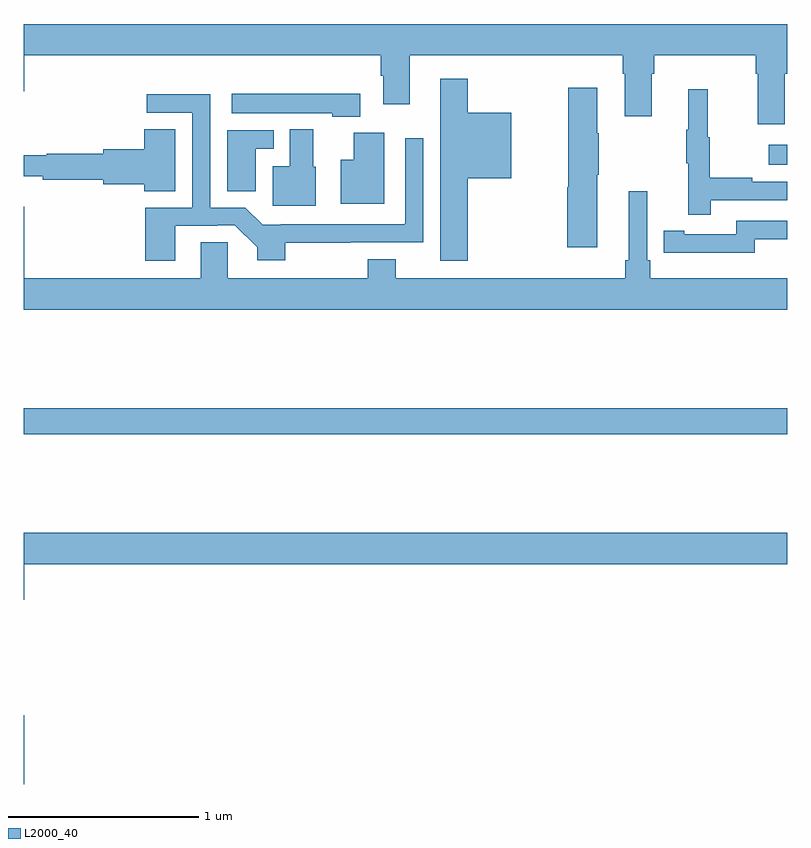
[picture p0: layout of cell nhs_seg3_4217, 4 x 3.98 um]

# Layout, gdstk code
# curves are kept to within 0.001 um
import gdstk
lib = gdstk.Library(unit=1e-6, precision=1e-09)
def R(c, l, rs):  # rectangles x0, y0, x1, y1
    for r in rs: c.add(gdstk.rectangle(r[:2], r[2:], *l))
def P(c, l, *ps):  # polygons
    for p in ps: c.add(gdstk.Polygon(p, *l))
L2000_40 = (2000, 40)

nhs_seg3_4217 = lib.new_cell('nhs_seg3_4217')
R(nhs_seg3_4217, L2000_40, [(333,730.4,333.004,730.759), (333,732.232,337,732.368), (336.903,733.643,337,733.747)])
P(nhs_seg3_4217, L2000_40, [(336.985,734.12),(336.998,734.12),(336.998,734.216),(337,734.216),(337,734.38),(333,734.38),(333,734.028),(333.004,734.028),(333.004,734.216),(334.871,734.216),(334.871,734.11),(334.883,734.11),(334.883,733.959),(335.023,733.959),(335.023,734.216),(336.137,734.216),(336.137,734.12),(336.149,734.12),(336.149,733.896),(336.289,733.896),(336.289,734.12),(336.302,734.12),(336.302,734.216),(336.833,734.216),(336.833,734.12),(336.845,734.12),(336.845,733.854),(336.985,733.854)],
  [(335.327,733.571),(335.554,733.571),(335.554,733.915),(335.327,733.915),(335.327,734.092),(335.183,734.092),(335.183,733.14),(335.327,733.14)],
  [(336.004,733.591),(336.012,733.591),(336.012,733.808),(336.004,733.808),(336.004,734.047),(335.851,734.047),(335.851,733.524),(335.846,733.524),(335.846,733.212),(336.004,733.212)],
  [(336.599,733.458),(337,733.458),(337,733.554),(336.815,733.554),(336.815,733.574),(336.592,733.574),(336.592,733.788),(336.584,733.788),(336.584,734.038),(336.482,734.038),(336.482,733.825),(336.471,733.825),(336.471,733.651),(336.482,733.651),(336.482,733.38),(336.599,733.38)],
  [(334.762,734.014),(334.089,734.014),(334.089,733.913),(334.617,733.913),(334.617,733.895),(334.762,733.895)],
  [(333.793,733.323),(334.013,733.323),(334.013,733.326),(334.107,733.326),(334.223,733.21),(334.223,733.142),(334.371,733.142),(334.371,733.235),(335.094,733.236),(335.094,733.783),(334.998,733.783),(334.997,733.332),(334.348,733.332),(334.348,733.329),(334.252,733.329),(334.162,733.419),(333.978,733.419),(333.978,734.012),(333.645,734.012),(333.645,733.914),(333.882,733.914),(333.882,733.419),(333.638,733.419),(333.638,733.14),(333.793,733.14)],
  [(333.793,733.829),(333.632,733.829),(333.632,733.724),(333.416,733.724),(333.416,733.7),(333.12,733.7),(333.12,733.693),(333,733.693),(333,733.583),(333.1,733.583),(333.1,733.564),(333.416,733.564),(333.416,733.541),(333.632,733.541),(333.632,733.504),(333.793,733.504)],
  [(334.531,733.632),(334.516,733.632),(334.516,733.828),(334.394,733.828),(334.394,733.636),(334.304,733.636),(334.304,733.427),(334.531,733.427)],
  [(334.216,733.728),(334.309,733.728),(334.309,733.824),(334.067,733.824),(334.067,733.504),(334.216,733.504)],
  [(334.888,733.81),(334.73,733.81),(334.73,733.669),(334.661,733.669),(334.661,733.439),(334.888,733.439)],
  [(337,733.048),(336.281,733.048),(336.281,733.144),(336.267,733.144),(336.267,733.504),(336.17,733.504),(336.17,733.144),(336.151,733.144),(336.151,733.048),(334.948,733.048),(334.948,733.147),(334.801,733.147),(334.801,733.048),(334.068,733.048),(334.068,733.238),(333.929,733.238),(333.929,733.048),(333.004,733.048),(333.004,733.423),(333,733.423),(333,732.884),(337,732.884)],
  [(336.828,733.254),(337,733.254),(337,733.35),(336.732,733.35),(336.732,733.278),(336.46,733.278),(336.46,733.298),(336.352,733.298),(336.352,733.182),(336.46,733.182),(336.46,733.181),(336.828,733.181)],
  [(333.004,731.552),(337,731.552),(337,731.716),(333,731.716),(333,731.364),(333.004,731.364)])

lib.write_gds('nhs_seg3_4217.gds')
